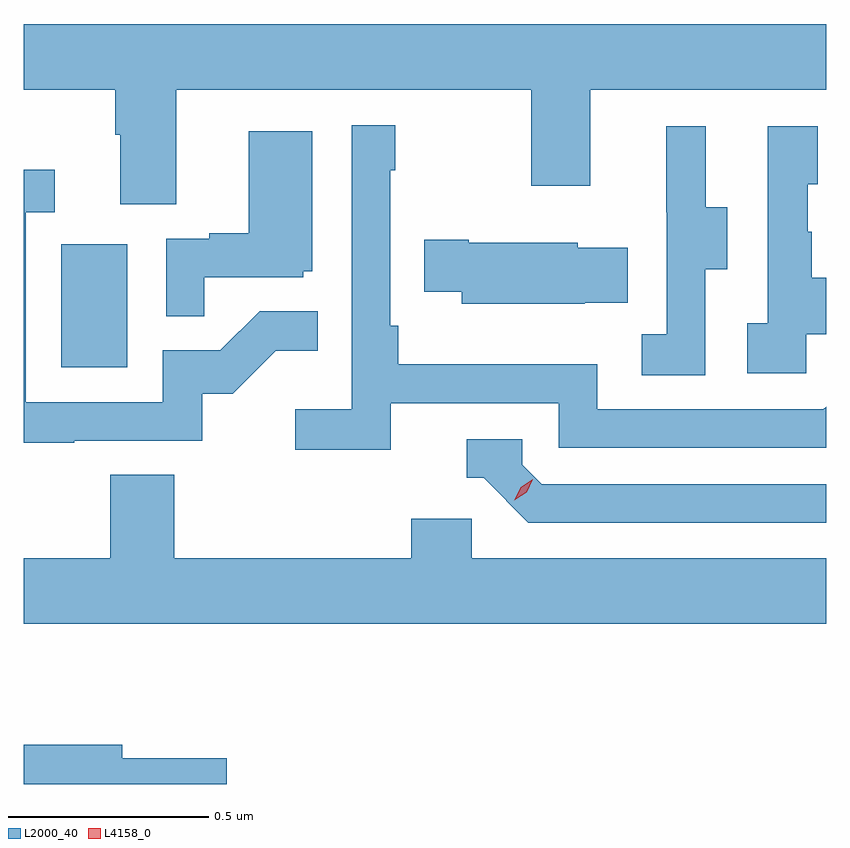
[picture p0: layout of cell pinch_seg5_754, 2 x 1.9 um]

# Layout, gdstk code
import gdstk
lib = gdstk.Library(unit=1e-6, precision=1e-09)
def R(c, l, rs):  # rectangles x0, y0, x1, y1
    for r in rs: c.add(gdstk.rectangle(r[:2], r[2:], *l))
def P(c, l, *ps):  # polygons
    for p in ps: c.add(gdstk.Polygon(p, *l))
L2000_40 = (2000, 40)
L4158_0 = (4158, 0)

pinch_seg5_754 = lib.new_cell('pinch_seg5_754')
R(pinch_seg5_754, L2000_40, [(860.846,901.356,861.01,901.663)])
P(pinch_seg5_754, L2000_40, [(861.133,902.048),(862.018,902.048),(862.018,901.809),(862.165,901.809),(862.165,902.048),(862.753,902.048),(862.753,902.212),(860.753,902.212),(860.753,902.048),(860.981,902.048),(860.981,901.936),(860.993,901.936),(860.993,901.762),(861.133,901.762)],
  [(861.668,901.266),(862.086,901.266),(862.086,901.155),(862.753,901.155),(862.753,901.258),(862.746,901.251),(862.182,901.251),(862.182,901.363),(861.686,901.363),(861.686,901.459),(861.666,901.459),(861.666,901.847),(861.679,901.847),(861.679,901.96),(861.57,901.96),(861.57,901.252),(861.429,901.252),(861.429,901.15),(861.668,901.15)],
  [(862.452,901.6),(862.507,901.6),(862.507,901.755),(862.453,901.755),(862.453,901.957),(862.355,901.957),(862.355,901.743),(862.356,901.743),(862.356,901.439),(862.293,901.439),(862.293,901.336),(862.452,901.336)],
  [(862.704,901.439),(862.753,901.439),(862.753,901.579),(862.717,901.579),(862.717,901.694),(862.707,901.694),(862.707,901.812),(862.732,901.812),(862.732,901.957),(862.608,901.957),(862.608,901.466),(862.557,901.466),(862.557,901.341),(862.704,901.341)],
  [(861.203,901.581),(861.45,901.581),(861.45,901.596),(861.472,901.596),(861.472,901.945),(861.314,901.945),(861.314,901.69),(861.215,901.69),(861.215,901.677),(861.108,901.677),(861.108,901.483),(861.203,901.483)],
  [(860.879,901.173),(861.198,901.173),(861.198,901.29),(861.274,901.29),(861.381,901.397),(861.485,901.397),(861.485,901.496),(861.341,901.496),(861.243,901.398),(861.099,901.398),(861.099,901.269),(860.757,901.269),(860.757,901.743),(860.83,901.743),(860.83,901.849),(860.753,901.849),(860.753,901.168),(860.879,901.168)],
  [(862.151,901.517),(862.259,901.517),(862.259,901.654),(862.134,901.654),(862.134,901.666),(861.862,901.666),(861.862,901.674),(861.751,901.674),(861.751,901.544),(861.845,901.544),(861.845,901.514),(862.151,901.514)],
  [(862.753,901.065),(862.044,901.065),(861.996,901.113),(861.996,901.176),(861.857,901.176),(861.857,901.08),(861.9,901.08),(862.011,900.969),(862.753,900.969)],
  [(862.753,900.88),(861.87,900.88),(861.87,900.978),(861.719,900.978),(861.719,900.88),(861.128,900.88),(861.128,901.088),(860.968,901.088),(860.968,900.88),(860.753,900.88),(860.753,900.716),(862.753,900.716)],
  [(861.259,900.381),(860.998,900.381),(860.998,900.415),(860.753,900.415),(860.753,900.317),(861.259,900.317)])
P(pinch_seg5_754, L4158_0, [(861.976,901.024),(861.976,901.025),(861.992,901.057),(862.022,901.077),(862.022,901.077),(862.022,901.077),(862.007,901.044),(861.976,901.024)])

lib.write_gds('pinch_seg5_754.gds')
